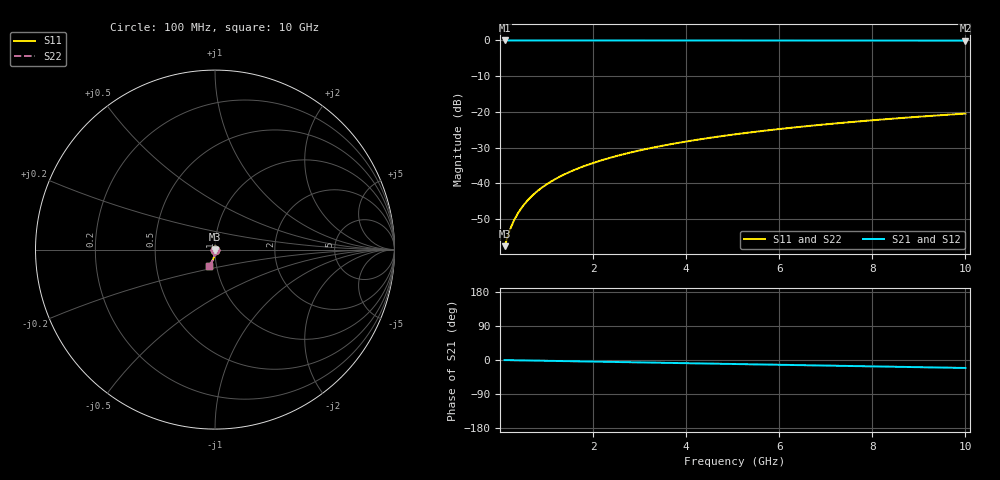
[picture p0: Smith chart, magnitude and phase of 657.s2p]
# Hz S RI R 50.00
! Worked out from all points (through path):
!   100 points, 100 MHz to 10 GHz, reference 50 ohm
!   highest |S21| = -0.01 dB at 100 MHz (marker M1); lowest = -0.1 dB at 10 GHz (marker M2)
!   group delay of S21, straight-line fit = 5.84 ps
!   lowest |S11| = -57.5 dB at 100 MHz (marker M3), VSWR 1.00, Z = 50.1 - j0.0972 ohm
!   |S11| at or under -10 dB: start of sweep to end of sweep
!   |S22| runs from -57.5 to -20.5 dB; largest |S21 - S12| = 0
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1e8  0.00091 -0.00097  0.9991 -0.00366  0.9991 -0.00366  0.00091 -0.00097
2e8  0.000904 -0.00194  0.999 -0.00732  0.999 -0.00732  0.000904 -0.00194
3e8  0.000888 -0.00291  0.999 -0.011  0.999 -0.011  0.000888 -0.00291
4e8  0.000865 -0.00388  0.9989 -0.0146  0.9989 -0.0146  0.000865 -0.00388
5e8  0.000834 -0.00485  0.9989 -0.0183  0.9989 -0.0183  0.000834 -0.00485
6e8  0.000796 -0.00582  0.9988 -0.022  0.9988 -0.022  0.000796 -0.00582
7e8  0.00075 -0.00679  0.9987 -0.0256  0.9987 -0.0256  0.00075 -0.00679
8e8  0.000697 -0.00776  0.9986 -0.0293  0.9986 -0.0293  0.000697 -0.00776
9e8  0.000637 -0.00872  0.9985 -0.0329  0.9985 -0.0329  0.000637 -0.00872
1.1e9  0.000495 -0.0107  0.9982 -0.0403  0.9982 -0.0403  0.000495 -0.0107
1.4e9  0.000227 -0.0136  0.9976 -0.0512  0.9976 -0.0512  0.000227 -0.0136
1.8e9  -0.000228 -0.0174  0.9967 -0.0659  0.9967 -0.0659  -0.000228 -0.0174
2.1e9  -0.000645 -0.0203  0.9958 -0.0768  0.9958 -0.0768  -0.000645 -0.0203
2.5e9  -0.0013 -0.0241  0.9945 -0.0914  0.9945 -0.0914  -0.0013 -0.0241
2.9e9  -0.00207 -0.0279  0.9929 -0.106  0.9929 -0.106  -0.00207 -0.0279
3.4e9  -0.00318 -0.0327  0.9907 -0.1241  0.9907 -0.1241  -0.00318 -0.0327
4.2e9  -0.00533 -0.0402  0.9863 -0.1531  0.9863 -0.1531  -0.00533 -0.0402
5.1e9  -0.00826 -0.0484  0.9803 -0.1856  0.9803 -0.1856  -0.00826 -0.0484
5.9e9  -0.0113 -0.0556  0.974 -0.2142  0.974 -0.2142  -0.0113 -0.0556
6.7e9  -0.0148 -0.0626  0.9668 -0.2426  0.9668 -0.2426  -0.0148 -0.0626
8.4e9  -0.0235 -0.0767  0.9486 -0.3021  0.9486 -0.3021  -0.0235 -0.0767
1e10  -0.0333 -0.0889  0.9279 -0.3569  0.9279 -0.3569  -0.0333 -0.0889
